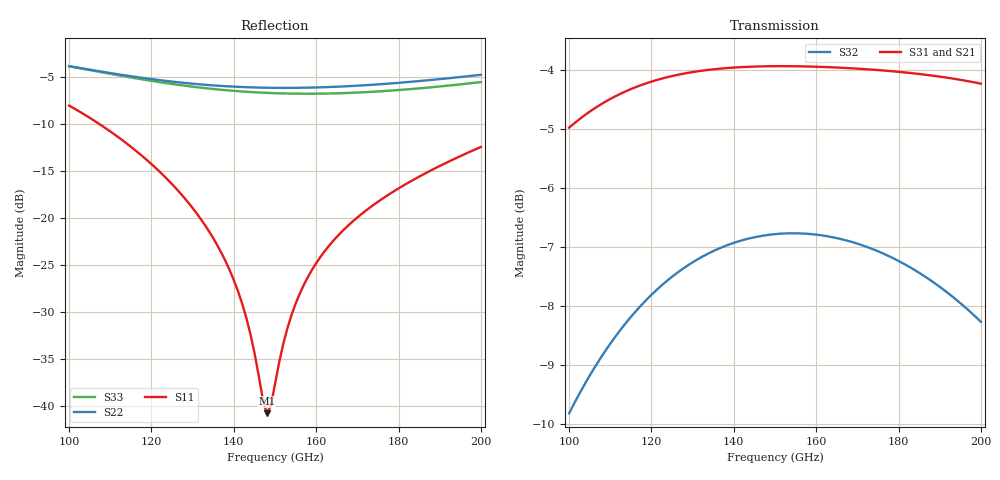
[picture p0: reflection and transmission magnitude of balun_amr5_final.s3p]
! Created with skrf 2.1.0 (http://scikit-rf.org).
# GHz S DB R 50.0
! Port[1] = P1
! Port[2] = P2
! Port[3] = P3
!freq dBS11 angS11 dBS12 angS12 dBS13 angS13
! dBS21 angS21 dBS22 angS22 dBS23 angS23
! dBS31 angS31 dBS32 angS32 dBS33 angS33
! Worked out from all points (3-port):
!   101 points, 100 GHz to 200 GHz, reference 50 ohm
!   strongest paths, dB at 100 GHz, 125 GHz, 150 GHz, 175 GHz, 200 GHz:
!     S31: -5.0, -4.1, -3.9, -4.0, -4.2
!     S21: -4.8, -4.0, -4.0, -4.2, -4.6
!     S32: -9.8, -7.5, -6.8, -7.1, -8.3
!   lowest |S11| = -40.7 dB at 148 GHz (marker M1), VSWR 1.02, Z = 50.9 - j0.0758 ohm
!   |S11| at or under -10 dB: 107.3 GHz to end of sweep
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100  -8.07 129.9  -4.76 -9.9  -4.98 166.5
     -4.76 -9.9  -3.89 60.2  -9.82 91.2
     -4.98 166.5  -9.82 91.2  -3.89 50.7
120  -14.28 101.8  -4.08 -40.3  -4.20 134.6
     -4.08 -40.3  -5.26 42.4  -7.81 61.5
     -4.20 134.6  -7.81 61.5  -5.44 30.2
134  -21.43 84.2  -3.94 -59.4  -4.00 114.3
     -3.94 -59.4  -5.89 31.9  -7.11 42.5
     -4.00 114.3  -7.11 42.5  -6.26 18.4
142  -29.06 68.8  -3.93 -69.8  -3.96 103.3
     -3.93 -69.8  -6.10 26.2  -6.89 32.1
     -3.96 103.3  -6.89 32.1  -6.57 12.2
148  -40.73 -4.6  -3.95 -77.3  -3.94 95.4
     -3.95 -77.3  -6.17 22.0  -6.80 24.6
     -3.94 95.4  -6.80 24.6  -6.72 7.7
150  -37.64 -57.4  -3.96 -79.8  -3.94 92.8
     -3.96 -79.8  -6.18 20.6  -6.79 22.2
     -3.94 92.8  -6.79 22.2  -6.75 6.2
155  -29.10 -89.5  -3.98 -85.9  -3.94 86.3
     -3.98 -85.9  -6.18 17.0  -6.77 16.0
     -3.94 86.3  -6.77 16.0  -6.80 2.5
164  -22.49 -102.5  -4.05 -96.8  -3.96 74.8
     -4.05 -96.8  -6.08 10.3  -6.84 5.3
     -3.96 74.8  -6.84 5.3  -6.78 -4.3
178  -17.40 -112.6  -4.20 -113.5  -4.02 57.3
     -4.20 -113.5  -5.72 -0.8  -7.17 -11.2
     -4.02 57.3  -7.17 -11.2  -6.48 -15.3
200  -12.46 -127.8  -4.60 -140.0  -4.24 29.4
     -4.60 -140.0  -4.80 -20.1  -8.27 -36.9
     -4.24 29.4  -8.27 -36.9  -5.57 -34.2
